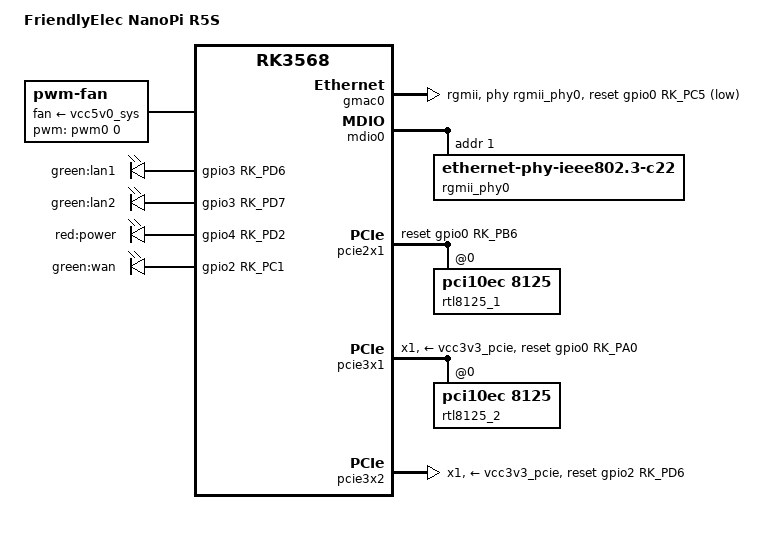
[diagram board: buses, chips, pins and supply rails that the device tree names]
// SPDX-License-Identifier: GPL-2.0-or-later OR MIT
/*
 * Copyright (c) 2022 FriendlyElec Computer Tech. Co., Ltd.
 * (http://www.friendlyelec.com)
 *
 * Copyright (c) 2023 Tianling Shen <cnsztl@immortalwrt.org>
 */

/dts-v1/;
#include "rk3568-nanopi-r5s.dtsi"

/ {
	model = "FriendlyElec NanoPi R5S";
	compatible = "friendlyarm,nanopi-r5s", "rockchip,rk3568";

	aliases {
		ethernet0 = &gmac0;
		ethernet1 = &rtl8125_1;
		ethernet2 = &rtl8125_2;
	};

	fan: pwm-fan {
		compatible = "pwm-fan";
		#cooling-cells = <2>;
		cooling-levels = <0 18 102 170 255>;
		fan-supply = <&vcc5v0_sys>;
		pwms = <&pwm0 0 50000 0>;
	};

	gpio-leds {
		compatible = "gpio-leds";
		pinctrl-names = "default";
		pinctrl-0 = <&lan1_led_pin>, <&lan2_led_pin>, <&power_led_pin>, <&wan_led_pin>;

		led-lan1 {
			label = "green:lan1";
			gpios = <&gpio3 RK_PD6 GPIO_ACTIVE_HIGH>;
		};

		led-lan2 {
			label = "green:lan2";
			gpios = <&gpio3 RK_PD7 GPIO_ACTIVE_HIGH>;
		};

		power_led: led-power {
			label = "red:power";
			gpios = <&gpio4 RK_PD2 GPIO_ACTIVE_HIGH>;
		};

		led-wan {
			label = "green:wan";
			gpios = <&gpio2 RK_PC1 GPIO_ACTIVE_HIGH>;
		};
	};
};

&cpu_thermal {
	trips {
		cpu_warm: cpu_warm {
			temperature = <55000>;
			hysteresis = <2000>;
			type = "active";
		};

		cpu_hot: cpu_hot {
			temperature = <65000>;
			hysteresis = <2000>;
			type = "active";
		};
	};

	cooling-maps {
		map1 {
			trip = <&cpu_warm>;
			cooling-device = <&fan THERMAL_NO_LIMIT 1>;
		};

		map2 {
			trip = <&cpu_hot>;
			cooling-device = <&fan 2 THERMAL_NO_LIMIT>;
		};
	};
};

&gmac0 {
	assigned-clocks = <&cru SCLK_GMAC0_RX_TX>, <&cru SCLK_GMAC0>;
	assigned-clock-parents = <&cru SCLK_GMAC0_RGMII_SPEED>, <&cru CLK_MAC0_2TOP>;
	assigned-clock-rates = <0>, <125000000>;
	clock_in_out = "output";
	phy-handle = <&rgmii_phy0>;
	phy-mode = "rgmii";
	pinctrl-names = "default";
	pinctrl-0 = <&gmac0_miim
		     &gmac0_tx_bus2
		     &gmac0_rx_bus2
		     &gmac0_rgmii_clk
		     &gmac0_rgmii_bus>;
	snps,reset-gpio = <&gpio0 RK_PC5 GPIO_ACTIVE_LOW>;
	snps,reset-active-low;
	/* Reset time is 20ms, 100ms for rtl8211f */
	snps,reset-delays-us = <0 20000 100000>;
	tx_delay = <0x3c>;
	rx_delay = <0x2f>;
	status = "okay";
};

&mdio0 {
	rgmii_phy0: ethernet-phy@1 {
		compatible = "ethernet-phy-ieee802.3-c22";
		reg = <1>;
		pinctrl-0 = <&eth_phy0_reset_pin>;
		pinctrl-names = "default";
	};
};

&pcie2x1 {
	reset-gpios = <&gpio0 RK_PB6 GPIO_ACTIVE_HIGH>;
	status = "okay";

	pcie@00 {
		reg = <0x00000000 0 0 0 0>;
		#address-cells = <3>;
		#size-cells = <2>;

		rtl8125_1: pcie-eth@01,0 {
			compatible = "pci10ec,8125";
			reg = <0x000000 0 0 0 0>;

			realtek,led-data = <0x78>;
		};
	};
};

&pcie3x1 {
	num-lanes = <1>;
	reset-gpios = <&gpio0 RK_PA0 GPIO_ACTIVE_HIGH>;
	vpcie3v3-supply = <&vcc3v3_pcie>;
	status = "okay";

	pcie@10 {
		reg = <0x00100000 0 0 0 0>;
		#address-cells = <3>;
		#size-cells = <2>;

		rtl8125_2: pcie-eth@10,0 {
			compatible = "pci10ec,8125";
			reg = <0x000000 0 0 0 0>;

			realtek,led-data = <0x78>;
		};
	};
};

&pcie3x2 {
	num-lanes = <1>;
	num-ib-windows = <8>;
	num-ob-windows = <8>;
	reset-gpios = <&gpio2 RK_PD6 GPIO_ACTIVE_HIGH>;
	vpcie3v3-supply = <&vcc3v3_pcie>;
	status = "okay";
};

&pinctrl {
	gmac0 {
		eth_phy0_reset_pin: eth-phy0-reset-pin {
			rockchip,pins = <0 RK_PC4 RK_FUNC_GPIO &pcfg_pull_up>;
		};
	};

	gpio-leds {
		lan1_led_pin: lan1-led-pin {
			rockchip,pins = <3 RK_PD6 RK_FUNC_GPIO &pcfg_pull_none>;
		};

		lan2_led_pin: lan2-led-pin {
			rockchip,pins = <3 RK_PD7 RK_FUNC_GPIO &pcfg_pull_none>;
		};

		power_led_pin: power-led-pin {
			rockchip,pins = <4 RK_PD2 RK_FUNC_GPIO &pcfg_pull_none>;
		};

		wan_led_pin: wan-led-pin {
			rockchip,pins = <2 RK_PC1 RK_FUNC_GPIO &pcfg_pull_none>;
		};
	};
};
